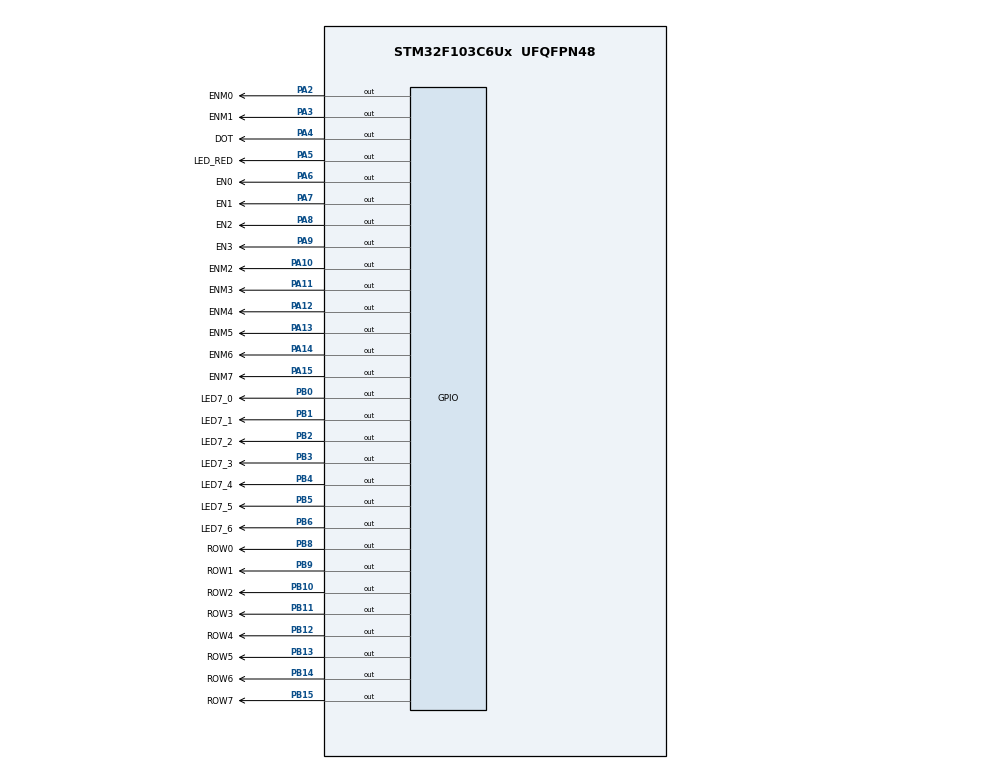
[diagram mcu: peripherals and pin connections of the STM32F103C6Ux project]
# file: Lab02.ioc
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Mcu.Family=STM32F1
Mcu.Name=STM32F103C6Ux
Mcu.Package=UFQFPN48
NVIC.PriorityGroup=NVIC_PRIORITYGROUP_4
NVIC.TIM2_IRQn=true\:0\:0\:false\:false\:true\:true\:true
PA10.GPIO_Label=ENM2
PA10.Signal=GPIO_Output
PA11.GPIO_Label=ENM3
PA11.Signal=GPIO_Output
PA12.GPIO_Label=ENM4
PA12.Signal=GPIO_Output
PA13.GPIO_Label=ENM5
PA13.Signal=GPIO_Output
PA14.GPIO_Label=ENM6
PA14.Signal=GPIO_Output
PA15.GPIO_Label=ENM7
PA15.Signal=GPIO_Output
PA2.GPIO_Label=ENM0
PA2.Signal=GPIO_Output
PA3.GPIO_Label=ENM1
PA3.Signal=GPIO_Output
PA4.GPIO_Label=DOT
PA4.Signal=GPIO_Output
PA5.GPIO_Label=LED_RED
PA5.Signal=GPIO_Output
PA6.GPIO_Label=EN0
PA6.Signal=GPIO_Output
PA7.GPIO_Label=EN1
PA7.Signal=GPIO_Output
PA8.GPIO_Label=EN2
PA8.Signal=GPIO_Output
PA9.GPIO_Label=EN3
PA9.Signal=GPIO_Output
PB0.GPIO_Label=LED7_0
PB0.Signal=GPIO_Output
PB1.GPIO_Label=LED7_1
PB1.Signal=GPIO_Output
PB10.GPIO_Label=ROW2
PB10.Signal=GPIO_Output
PB11.GPIO_Label=ROW3
PB11.Signal=GPIO_Output
PB12.GPIO_Label=ROW4
PB12.Signal=GPIO_Output
PB13.GPIO_Label=ROW5
PB13.Signal=GPIO_Output
PB14.GPIO_Label=ROW6
PB14.Signal=GPIO_Output
PB15.GPIO_Label=ROW7
PB15.Signal=GPIO_Output
PB2.GPIO_Label=LED7_2
PB2.Signal=GPIO_Output
PB3.GPIO_Label=LED7_3
PB3.Signal=GPIO_Output
PB4.GPIO_Label=LED7_4
PB4.Signal=GPIO_Output
PB5.GPIO_Label=LED7_5
PB5.Signal=GPIO_Output
PB6.GPIO_Label=LED7_6
PB6.Signal=GPIO_Output
PB8.GPIO_Label=ROW0
PB8.Signal=GPIO_Output
PB9.GPIO_Label=ROW1
PB9.Signal=GPIO_Output
ProjectManager.HeapSize=0x200
ProjectManager.StackSize=0x400
ProjectManager.TargetToolchain=STM32CubeIDE
RCC.APB1Freq_Value=8000000
RCC.APB2Freq_Value=8000000
TIM2.Period=9
TIM2.Prescaler=7999
VP_SYS_VS_ND.Mode=No_Debug
VP_TIM2_VS_ClockSourceINT.Mode=Internal
board=custom

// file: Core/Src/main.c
/* USER CODE BEGIN Header */
/**
  ******************************************************************************
  * @file           : main.c
  * @brief          : Main program body
  ******************************************************************************
  * @attention
  *
  * <h2><center>&copy; Copyright (c) 2022 STMicroelectronics.
  * All rights reserved.</center></h2>
  *
  * This software component is licensed by ST under BSD 3-Clause license,
  * the "License"; You may not use this file except in compliance with the
  * License. You may obtain a copy of the License at:
  *                        opensource.org/licenses/BSD-3-Clause
  *
  ******************************************************************************
  */
/* USER CODE END Header */
#include "main.h"

/* USER CODE BEGIN Includes */
#include "software_timer.h"
/* USER CODE END Includes */

TIM_HandleTypeDef htim2;

void SystemClock_Config(void);
static void MX_GPIO_Init(void);
static void MX_TIM2_Init(void);

/* USER CODE BEGIN 0 */
void display7SEG ( int num ){
	switch ( num ){
		case 0:
			HAL_GPIO_WritePin (GPIOB, LED7_0_Pin | LED7_1_Pin | LED7_2_Pin | LED7_3_Pin | LED7_4_Pin | LED7_5_Pin, RESET );
			HAL_GPIO_WritePin (GPIOB, LED7_6_Pin, SET );
			break ;
		case 1:
			HAL_GPIO_WritePin (GPIOB, LED7_0_Pin | LED7_3_Pin | LED7_4_Pin | LED7_5_Pin | LED7_6_Pin, SET );
			HAL_GPIO_WritePin (GPIOB, LED7_1_Pin | LED7_2_Pin, RESET );
			break ;
		case 2:
			HAL_GPIO_WritePin (GPIOB, LED7_0_Pin | LED7_1_Pin | LED7_3_Pin | LED7_4_Pin | LED7_6_Pin, RESET );
			HAL_GPIO_WritePin (GPIOB, LED7_2_Pin | LED7_5_Pin, SET);
			break ;
		case 3:
			HAL_GPIO_WritePin (GPIOB, LED7_0_Pin | LED7_1_Pin | LED7_2_Pin | LED7_3_Pin | LED7_6_Pin, RESET );
			HAL_GPIO_WritePin (GPIOB, LED7_4_Pin | LED7_5_Pin, SET);
			break ;
		case 4:
			HAL_GPIO_WritePin (GPIOB, LED7_0_Pin | LED7_3_Pin | LED7_4_Pin, SET );
			HAL_GPIO_WritePin (GPIOB, LED7_1_Pin | LED7_2_Pin | LED7_5_Pin | LED7_6_Pin, RESET );
			break ;
		case 5:
			HAL_GPIO_WritePin (GPIOB, LED7_0_Pin | LED7_2_Pin | LED7_3_Pin | LED7_5_Pin | LED7_6_Pin, RESET );
			HAL_GPIO_WritePin (GPIOB, LED7_1_Pin | LED7_4_Pin, SET);
			break ;
		case 6:
			HAL_GPIO_WritePin (GPIOB, LED7_0_Pin | LED7_2_Pin | LED7_3_Pin | LED7_4_Pin | LED7_5_Pin | LED7_6_Pin, RESET );
			HAL_GPIO_WritePin (GPIOB, LED7_1_Pin, SET );
			break ;
		case 7:
			HAL_GPIO_WritePin (GPIOB, LED7_0_Pin | LED7_1_Pin | LED7_2_Pin, RESET );
			HAL_GPIO_WritePin (GPIOB, LED7_3_Pin | LED7_4_Pin | LED7_5_Pin | LED7_6_Pin, SET );
			break ;
		case 8:
			HAL_GPIO_WritePin (GPIOB, LED7_0_Pin | LED7_1_Pin | LED7_2_Pin | LED7_3_Pin | LED7_4_Pin | LED7_5_Pin | LED7_6_Pin, RESET );
		break ;
		case 9:
			HAL_GPIO_WritePin (GPIOB, LED7_0_Pin | LED7_1_Pin | LED7_2_Pin | LED7_3_Pin | LED7_5_Pin | LED7_6_Pin, RESET );
			HAL_GPIO_WritePin (GPIOB, LED7_4_Pin, SET );
			break ;
		default :
			break ;
	}
}

const int MAX_LED = 4;
int index_led = 0;
int led_buffer[4] = {1, 2, 3, 4};

void update7SEG(int index){
	switch(index){
		case 0:
			// Display the first 7 SEG with led_buffer [0]
			HAL_GPIO_WritePin (GPIOA, EN0_Pin, RESET );
			HAL_GPIO_WritePin (GPIOA, EN1_Pin | EN2_Pin | EN3_Pin, SET);
			display7SEG(led_buffer[0]);
			break;
		case 1:
			// Display the second 7 SEG with led_buffer [1]
			HAL_GPIO_WritePin (GPIOA, EN1_Pin, RESET );
			HAL_GPIO_WritePin (GPIOA, EN0_Pin | EN2_Pin | EN3_Pin, SET);
			display7SEG(led_buffer[1]);
			break;
		case 2:
			// Display the third 7 SEG with led_buffer [2]
			HAL_GPIO_WritePin (GPIOA, EN2_Pin, RESET);
			HAL_GPIO_WritePin (GPIOA, EN0_Pin | EN1_Pin | EN3_Pin, SET);
			display7SEG(led_buffer[2]);
			break;
		case 3:
			// Display the forth 7 SEG with led_buffer [3]
			HAL_GPIO_WritePin (GPIOA, EN3_Pin, RESET);
			HAL_GPIO_WritePin (GPIOA, EN0_Pin | EN1_Pin | EN2_Pin, SET);
			display7SEG (led_buffer[3]);
			break;
		default:
			break;
	}
}

int hour = 15, minute = 8, second = 50;

void updateClockBuffer(){
	led_buffer[0] = hour / 10;
	led_buffer[1] = hour % 10;
	led_buffer[2] = minute / 10;
	led_buffer[3] = minute % 10;
}
/* USER CODE END 0 */

int main(void)
{

  /* MCU Configuration--------------------------------------------------------*/

  /* Reset of all peripherals, Initializes the Flash interface and the Systick. */
  HAL_Init();

  /* Configure the system clock */
  SystemClock_Config();

  /* Initialize all configured peripherals */
  MX_GPIO_Init();
  MX_TIM2_Init();
  /* USER CODE BEGIN 2 */
  HAL_TIM_Base_Start_IT(&htim2);
  /* USER CODE END 2 */

  /* Infinite loop */
  /* USER CODE BEGIN WHILE */
  setTimer0(1000);
  setTimer1(1000);
  setTimer2(500);
  while (1)
  {
	  if (timer1_flag == 1){
		  setTimer1(100);
		  HAL_GPIO_TogglePin(GPIOA, LED_RED_Pin);
		  HAL_GPIO_TogglePin(GPIOA, DOT_Pin);
	  }

	  if(timer2_flag == 1){
		  setTimer2(50);
		  update7SEG(index_led++);
		  if(index_led >= MAX_LED) index_led = 0;
	  }

	  if(timer0_flag == 1){
		  second++;
		  if(second >= 60) {
			  second = 0;
			  minute++;
		  }
		  if( minute >= 60) {
			  minute = 0;
			  hour++;
		  }
		  if( hour >= 24) {
			  hour = 0;
		  }
		  updateClockBuffer();
		  setTimer0(1000);
	  }
    /* USER CODE END WHILE */

  }
}

void SystemClock_Config(void)
{
  RCC_OscInitTypeDef RCC_OscInitStruct = {0};
  RCC_ClkInitTypeDef RCC_ClkInitStruct = {0};

  /** Initializes the RCC Oscillators according to the specified parameters
  * in the RCC_OscInitTypeDef structure.
  */
  RCC_OscInitStruct.OscillatorType = RCC_OSCILLATORTYPE_HSI;
  RCC_OscInitStruct.HSIState = RCC_HSI_ON;
  RCC_OscInitStruct.HSICalibrationValue = RCC_HSICALIBRATION_DEFAULT;
  RCC_OscInitStruct.PLL.PLLState = RCC_PLL_NONE;
  if (HAL_RCC_OscConfig(&RCC_OscInitStruct) != HAL_OK)
  {
    Error_Handler();
  }
  /** Initializes the CPU, AHB and APB buses clocks
  */
  RCC_ClkInitStruct.ClockType = RCC_CLOCKTYPE_HCLK|RCC_CLOCKTYPE_SYSCLK
                              |RCC_CLOCKTYPE_PCLK1|RCC_CLOCKTYPE_PCLK2;
  RCC_ClkInitStruct.SYSCLKSource = RCC_SYSCLKSOURCE_HSI;
  RCC_ClkInitStruct.AHBCLKDivider = RCC_SYSCLK_DIV1;
  RCC_ClkInitStruct.APB1CLKDivider = RCC_HCLK_DIV1;
  RCC_ClkInitStruct.APB2CLKDivider = RCC_HCLK_DIV1;

  if (HAL_RCC_ClockConfig(&RCC_ClkInitStruct, FLASH_LATENCY_0) != HAL_OK)
  {
    Error_Handler();
  }
}

static void MX_TIM2_Init(void)
{

  TIM_ClockConfigTypeDef sClockSourceConfig = {0};
  TIM_MasterConfigTypeDef sMasterConfig = {0};

  htim2.Instance = TIM2;
  htim2.Init.Prescaler = 7999;
  htim2.Init.CounterMode = TIM_COUNTERMODE_UP;
  htim2.Init.Period = 9;
  htim2.Init.ClockDivision = TIM_CLOCKDIVISION_DIV1;
  htim2.Init.AutoReloadPreload = TIM_AUTORELOAD_PRELOAD_DISABLE;
  if (HAL_TIM_Base_Init(&htim2) != HAL_OK)
  {
    Error_Handler();
  }
  sClockSourceConfig.ClockSource = TIM_CLOCKSOURCE_INTERNAL;
  if (HAL_TIM_ConfigClockSource(&htim2, &sClockSourceConfig) != HAL_OK)
  {
    Error_Handler();
  }
  sMasterConfig.MasterOutputTrigger = TIM_TRGO_RESET;
  sMasterConfig.MasterSlaveMode = TIM_MASTERSLAVEMODE_DISABLE;
  if (HAL_TIMEx_MasterConfigSynchronization(&htim2, &sMasterConfig) != HAL_OK)
  {
    Error_Handler();
  }

}

static void MX_GPIO_Init(void)
{
  GPIO_InitTypeDef GPIO_InitStruct = {0};

  /* GPIO Ports Clock Enable */
  __HAL_RCC_GPIOA_CLK_ENABLE();
  __HAL_RCC_GPIOB_CLK_ENABLE();

  /*Configure GPIO pin Output Level */
  HAL_GPIO_WritePin(GPIOA, DOT_Pin|LED_RED_Pin|EN0_Pin|EN1_Pin
                          |EN2_Pin|EN3_Pin, GPIO_PIN_RESET);

  /*Configure GPIO pin Output Level */
  HAL_GPIO_WritePin(GPIOB, LED7_0_Pin|LED7_1_Pin|LED7_2_Pin|LED7_3_Pin
                          |LED7_4_Pin|LED7_5_Pin|LED7_6_Pin, GPIO_PIN_RESET);

  /*Configure GPIO pins : DOT_Pin LED_RED_Pin EN0_Pin EN1_Pin
                           EN2_Pin EN3_Pin */
  GPIO_InitStruct.Pin = DOT_Pin|LED_RED_Pin|EN0_Pin|EN1_Pin
                          |EN2_Pin|EN3_Pin;
  GPIO_InitStruct.Mode = GPIO_MODE_OUTPUT_PP;
  GPIO_InitStruct.Pull = GPIO_NOPULL;
  GPIO_InitStruct.Speed = GPIO_SPEED_FREQ_LOW;
  HAL_GPIO_Init(GPIOA, &GPIO_InitStruct);

  /*Configure GPIO pins : LED7_0_Pin LED7_1_Pin LED7_2_Pin LED7_3_Pin
                           LED7_4_Pin LED7_5_Pin LED7_6_Pin */
  GPIO_InitStruct.Pin = LED7_0_Pin|LED7_1_Pin|LED7_2_Pin|LED7_3_Pin
                          |LED7_4_Pin|LED7_5_Pin|LED7_6_Pin;
  GPIO_InitStruct.Mode = GPIO_MODE_OUTPUT_PP;
  GPIO_InitStruct.Pull = GPIO_NOPULL;
  GPIO_InitStruct.Speed = GPIO_SPEED_FREQ_LOW;
  HAL_GPIO_Init(GPIOB, &GPIO_InitStruct);

}

/* USER CODE BEGIN 4 */
//int timer_counter = 25, state = 1;
void HAL_TIM_PeriodElapsedCallback(TIM_HandleTypeDef *htim){
	timerRun(); // Using for blink LED RED + DOT every second
}
/* USER CODE END 4 */

void Error_Handler(void)
{
  __disable_irq();
  while (1)
  {
  }
}

/************************ (C) COPYRIGHT STMicroelectronics *****END OF FILE****/
